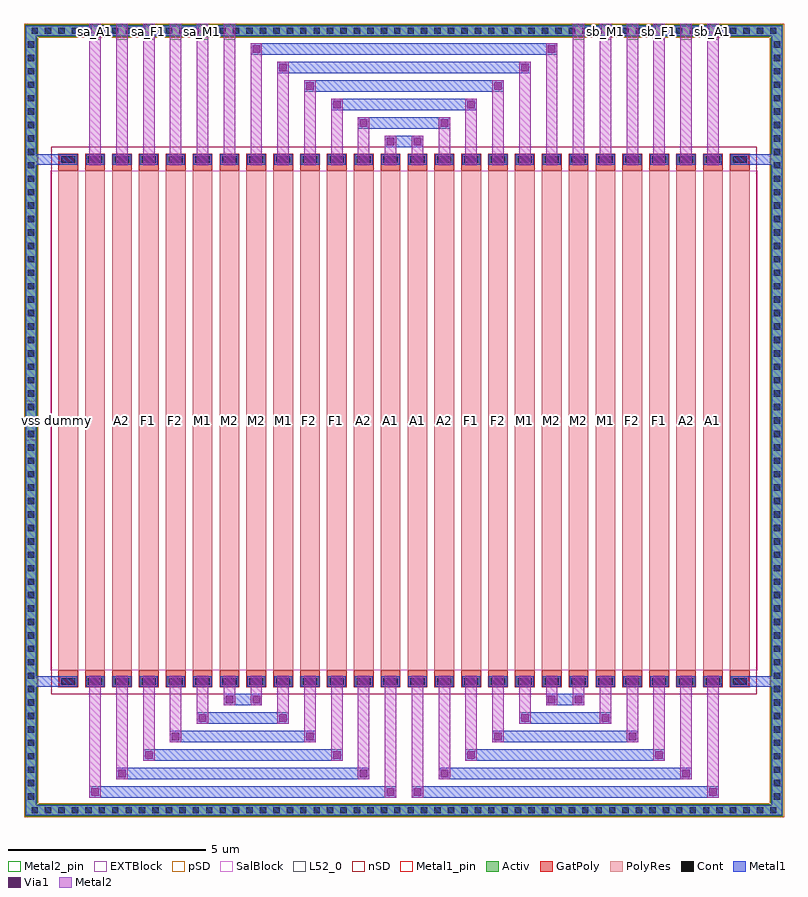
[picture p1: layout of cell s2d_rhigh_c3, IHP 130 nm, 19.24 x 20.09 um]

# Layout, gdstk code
import gdstk
lib = gdstk.Library(unit=1e-6, precision=1e-09)
def R(c, l, rs):  # rectangles x0, y0, x1, y1
    for r in rs: c.add(gdstk.rectangle(r[:2], r[2:], *l))
def A(c, l, x, y, w, h, nx, ny, dx, dy):  # array of equal rectangles
    R(c, l, [(x+i*dx, y+j*dy, x+i*dx+w, y+j*dy+h) for i in range(nx) for j in range(ny)])
Activ = (1, 0)
GatPoly = (5, 0)
Cont = (6, 0)
nSD = (7, 0)
Metal1 = (8, 0)
Metal1_pin = (8, 2)
Metal2 = (10, 0)
Metal2_pin = (10, 2)
pSD = (14, 0)
Via1 = (19, 0)
SalBlock = (28, 0)
L52_0 = (52, 0)
EXTBlock = (111, 0)
PolyRes = (128, 0)

rhigh = lib.new_cell('rhigh')
R(rhigh, GatPoly, [(0,-0.43,0.5,0), (0,12.65,0.5,13.08)])
R(rhigh, Cont, [(0.07,-0.36,0.43,-0.2), (0.07,12.85,0.43,13.01)])
R(rhigh, nSD, [(-0.18,-0.61,0.68,0.18), (-0.18,0,0.68,12.65), (-0.18,0,0.68,12.65), (-0.18,12.47,0.68,13.26)])
R(rhigh, Metal1, [(0.02,-0.41,0.48,-0.15), (0.02,12.8,0.48,13.06)])
R(rhigh, Metal1_pin, [(0.02,-0.41,0.48,-0.15), (0.02,12.8,0.48,13.06)])
R(rhigh, pSD, [(-0.18,-0.61,0.68,0.18), (-0.18,0,0.68,12.65), (-0.18,0,0.68,12.65), (-0.18,12.47,0.68,13.26)])
R(rhigh, SalBlock, [(-0.2,0,0.7,12.65)])
R(rhigh, L52_0, [(0,0,0.5,12.65)])
R(rhigh, EXTBlock, [(-0.18,-0.61,0.68,0.18), (-0.2,0,0.7,12.65), (-0.18,12.47,0.68,13.26)])
R(rhigh, PolyRes, [(0,0,0.5,12.65)])
rhigh.add(gdstk.Label('rhigh r=37720.000', (0.25,6.325), layer=63, texttype=0))
rhigh.add(gdstk.Label('rhigh', (0.25,6.325), layer=52, texttype=0))

s2d_rhigh_c3 = lib.new_cell('s2d_rhigh_c3')
R(s2d_rhigh_c3, Activ, [(-0.84,-3.69,18.34,-3.39), (-0.84,-3.69,-0.54,16.34), (18.04,-3.69,18.34,16.34), (-0.84,16.04,18.34,16.34)])
A(s2d_rhigh_c3, Cont, -0.68, -3.62, 0.16, 0.16, 56, 2, 0.34, 19.73)
A(s2d_rhigh_c3, Cont, -0.77, -3.275, 0.16, 0.16, 1, 57, 0, 0.34)
A(s2d_rhigh_c3, Cont, 18.11, -3.275, 0.16, 0.16, 1, 57, 0, 0.34)
R(s2d_rhigh_c3, Metal1, [(-0.82,-3.67,18.32,-3.41), (-0.82,-3.67,-0.56,16.32), (18.06,-3.67,18.32,16.32), (0.785,-3.23,8.555,-2.94), (8.945,-3.23,16.715,-2.94), (1.465,-2.76,7.875,-2.47), (9.625,-2.76,16.035,-2.47), (2.145,-2.29,7.195,-2), (10.305,-2.29,15.355,-2), (2.825,-1.82,6.515,-1.53), (10.985,-1.82,14.675,-1.53), (3.505,-1.35,5.835,-1.06), (11.665,-1.35,13.995,-1.06), (4.185,-0.88,5.155,-0.59), (12.345,-0.88,13.315,-0.59), (-0.56,-0.41,0.48,-0.15), (17.02,-0.41,18.06,-0.15), (-0.56,12.8,0.48,13.06), (17.02,12.8,18.06,13.06), (8.265,13.24,9.235,13.53), (7.585,13.71,9.915,14), (6.905,14.18,10.595,14.47), (6.225,14.65,11.275,14.94), (5.545,15.12,11.955,15.41), (4.865,15.59,12.635,15.88), (-0.82,16.06,18.32,16.32)])
R(s2d_rhigh_c3, Metal1_pin, [(-0.82,5.825,-0.56,6.825)])
A(s2d_rhigh_c3, Metal2, 0.785, 12.785, 0.29, 3.585, 6, 1, 0.68, 0)
A(s2d_rhigh_c3, Metal2, 13.025, 12.785, 0.29, 3.585, 6, 1, 0.68, 0)
R(s2d_rhigh_c3, Metal2, [(0.785,-3.23,1.075,-0.135), (8.265,-3.23,8.555,-0.135), (8.945,-3.23,9.235,-0.135), (16.425,-3.23,16.715,-0.135), (1.465,-2.76,1.755,-0.135), (7.585,-2.76,7.875,-0.135), (9.625,-2.76,9.915,-0.135), (15.745,-2.76,16.035,-0.135), (2.145,-2.29,2.435,-0.135), (6.905,-2.29,7.195,-0.135), (10.305,-2.29,10.595,-0.135), (15.065,-2.29,15.355,-0.135), (2.825,-1.82,3.115,-0.135), (6.225,-1.82,6.515,-0.135), (10.985,-1.82,11.275,-0.135), (14.385,-1.82,14.675,-0.135), (3.505,-1.35,3.795,-0.135), (5.545,-1.35,5.835,-0.135), (11.665,-1.35,11.955,-0.135), (13.705,-1.35,13.995,-0.135), (4.185,-0.88,4.475,-0.135), (4.865,-0.88,5.155,-0.135), (12.345,-0.88,12.635,-0.135), (13.025,-0.88,13.315,-0.135), (4.865,12.785,5.155,15.88), (5.545,12.785,5.835,15.41), (6.225,12.785,6.515,14.94), (6.905,12.785,7.195,14.47), (7.585,12.785,7.875,14), (8.265,12.785,8.555,13.53), (8.945,12.785,9.235,13.53), (9.625,12.785,9.915,14), (10.305,12.785,10.595,14.47), (10.985,12.785,11.275,14.94), (11.665,12.785,11.955,15.41), (12.345,12.785,12.635,15.88)])
A(s2d_rhigh_c3, Metal2_pin, 0.785, 15.97, 0.29, 0.4, 6, 1, 0.68, 0)
A(s2d_rhigh_c3, Metal2_pin, 13.025, 15.97, 0.29, 0.4, 6, 1, 0.68, 0)
R(s2d_rhigh_c3, pSD, [(-0.87,-3.72,18.37,-3.36), (-0.87,-3.72,-0.51,16.37), (18.01,-3.72,18.37,16.37), (-0.87,16.01,18.37,16.37)])
A(s2d_rhigh_c3, Via1, 0.835, -0.375, 0.19, 0.19, 24, 2, 0.68, 13.21)
R(s2d_rhigh_c3, Via1, [(0.835,-3.18,1.025,-2.99), (8.315,-3.18,8.505,-2.99), (8.995,-3.18,9.185,-2.99), (16.475,-3.18,16.665,-2.99), (1.515,-2.71,1.705,-2.52), (7.635,-2.71,7.825,-2.52), (9.675,-2.71,9.865,-2.52), (15.795,-2.71,15.985,-2.52), (2.195,-2.24,2.385,-2.05), (6.955,-2.24,7.145,-2.05), (10.355,-2.24,10.545,-2.05), (15.115,-2.24,15.305,-2.05), (2.875,-1.77,3.065,-1.58), (6.275,-1.77,6.465,-1.58), (11.035,-1.77,11.225,-1.58), (14.435,-1.77,14.625,-1.58), (3.555,-1.3,3.745,-1.11), (5.595,-1.3,5.785,-1.11), (11.715,-1.3,11.905,-1.11), (13.755,-1.3,13.945,-1.11), (4.235,-0.83,4.425,-0.64), (4.915,-0.83,5.105,-0.64), (12.395,-0.83,12.585,-0.64), (13.075,-0.83,13.265,-0.64), (8.315,13.29,8.505,13.48), (8.995,13.29,9.185,13.48), (7.635,13.76,7.825,13.95), (9.675,13.76,9.865,13.95), (6.955,14.23,7.145,14.42), (10.355,14.23,10.545,14.42), (6.275,14.7,6.465,14.89), (11.035,14.7,11.225,14.89), (5.595,15.17,5.785,15.36), (11.715,15.17,11.905,15.36), (4.915,15.64,5.105,15.83), (12.395,15.64,12.585,15.83)])
s2d_rhigh_c3.add(gdstk.Reference(rhigh, (0,0)))
s2d_rhigh_c3.add(gdstk.Reference(rhigh, (0.68,0)))
s2d_rhigh_c3.add(gdstk.Reference(rhigh, (1.36,0)))
s2d_rhigh_c3.add(gdstk.Reference(rhigh, (2.04,0)))
s2d_rhigh_c3.add(gdstk.Reference(rhigh, (2.72,0)))
s2d_rhigh_c3.add(gdstk.Reference(rhigh, (3.4,0)))
s2d_rhigh_c3.add(gdstk.Reference(rhigh, (4.08,0)))
s2d_rhigh_c3.add(gdstk.Reference(rhigh, (4.76,0)))
s2d_rhigh_c3.add(gdstk.Reference(rhigh, (5.44,0)))
s2d_rhigh_c3.add(gdstk.Reference(rhigh, (6.12,0)))
s2d_rhigh_c3.add(gdstk.Reference(rhigh, (6.8,0)))
s2d_rhigh_c3.add(gdstk.Reference(rhigh, (7.48,0)))
s2d_rhigh_c3.add(gdstk.Reference(rhigh, (8.16,0)))
s2d_rhigh_c3.add(gdstk.Reference(rhigh, (8.84,0)))
s2d_rhigh_c3.add(gdstk.Reference(rhigh, (9.52,0)))
s2d_rhigh_c3.add(gdstk.Reference(rhigh, (10.2,0)))
s2d_rhigh_c3.add(gdstk.Reference(rhigh, (10.88,0)))
s2d_rhigh_c3.add(gdstk.Reference(rhigh, (11.56,0)))
s2d_rhigh_c3.add(gdstk.Reference(rhigh, (12.24,0)))
s2d_rhigh_c3.add(gdstk.Reference(rhigh, (12.92,0)))
s2d_rhigh_c3.add(gdstk.Reference(rhigh, (13.6,0)))
s2d_rhigh_c3.add(gdstk.Reference(rhigh, (14.28,0)))
s2d_rhigh_c3.add(gdstk.Reference(rhigh, (14.96,0)))
s2d_rhigh_c3.add(gdstk.Reference(rhigh, (15.64,0)))
s2d_rhigh_c3.add(gdstk.Reference(rhigh, (16.32,0)))
s2d_rhigh_c3.add(gdstk.Reference(rhigh, (17,0)))
s2d_rhigh_c3.add(gdstk.Label('vss', (-0.69,6.325), layer=8, texttype=25))
s2d_rhigh_c3.add(gdstk.Label('sa_A1', (0.93,16.17), layer=10, texttype=25))
s2d_rhigh_c3.add(gdstk.Label('sb_A1', (16.57,16.17), layer=10, texttype=25))
s2d_rhigh_c3.add(gdstk.Label('sa_A2', (1.61,16.17), layer=10, texttype=25))
s2d_rhigh_c3.add(gdstk.Label('sb_A2', (15.89,16.17), layer=10, texttype=25))
s2d_rhigh_c3.add(gdstk.Label('sa_F1', (2.29,16.17), layer=10, texttype=25))
s2d_rhigh_c3.add(gdstk.Label('sb_F1', (15.21,16.17), layer=10, texttype=25))
s2d_rhigh_c3.add(gdstk.Label('sa_F2', (2.97,16.17), layer=10, texttype=25))
s2d_rhigh_c3.add(gdstk.Label('sb_F2', (14.53,16.17), layer=10, texttype=25))
s2d_rhigh_c3.add(gdstk.Label('sa_M1', (3.65,16.17), layer=10, texttype=25))
s2d_rhigh_c3.add(gdstk.Label('sb_M1', (13.85,16.17), layer=10, texttype=25))
s2d_rhigh_c3.add(gdstk.Label('sa_M2', (4.33,16.17), layer=10, texttype=25))
s2d_rhigh_c3.add(gdstk.Label('sb_M2', (13.17,16.17), layer=10, texttype=25))
s2d_rhigh_c3.add(gdstk.Label('dummy', (0.25,6.325), layer=63, texttype=0))
s2d_rhigh_c3.add(gdstk.Label('A1', (0.93,6.325), layer=63, texttype=0))
s2d_rhigh_c3.add(gdstk.Label('A2', (1.61,6.325), layer=63, texttype=0))
s2d_rhigh_c3.add(gdstk.Label('F1', (2.29,6.325), layer=63, texttype=0))
s2d_rhigh_c3.add(gdstk.Label('F2', (2.97,6.325), layer=63, texttype=0))
s2d_rhigh_c3.add(gdstk.Label('M1', (3.65,6.325), layer=63, texttype=0))
s2d_rhigh_c3.add(gdstk.Label('M2', (4.33,6.325), layer=63, texttype=0))
s2d_rhigh_c3.add(gdstk.Label('M2', (5.01,6.325), layer=63, texttype=0))
s2d_rhigh_c3.add(gdstk.Label('M1', (5.69,6.325), layer=63, texttype=0))
s2d_rhigh_c3.add(gdstk.Label('F2', (6.37,6.325), layer=63, texttype=0))
s2d_rhigh_c3.add(gdstk.Label('F1', (7.05,6.325), layer=63, texttype=0))
s2d_rhigh_c3.add(gdstk.Label('A2', (7.73,6.325), layer=63, texttype=0))
s2d_rhigh_c3.add(gdstk.Label('A1', (8.41,6.325), layer=63, texttype=0))
s2d_rhigh_c3.add(gdstk.Label('A1', (9.09,6.325), layer=63, texttype=0))
s2d_rhigh_c3.add(gdstk.Label('A2', (9.77,6.325), layer=63, texttype=0))
s2d_rhigh_c3.add(gdstk.Label('F1', (10.45,6.325), layer=63, texttype=0))
s2d_rhigh_c3.add(gdstk.Label('F2', (11.13,6.325), layer=63, texttype=0))
s2d_rhigh_c3.add(gdstk.Label('M1', (11.81,6.325), layer=63, texttype=0))
s2d_rhigh_c3.add(gdstk.Label('M2', (12.49,6.325), layer=63, texttype=0))
s2d_rhigh_c3.add(gdstk.Label('M2', (13.17,6.325), layer=63, texttype=0))
s2d_rhigh_c3.add(gdstk.Label('M1', (13.85,6.325), layer=63, texttype=0))
s2d_rhigh_c3.add(gdstk.Label('F2', (14.53,6.325), layer=63, texttype=0))
s2d_rhigh_c3.add(gdstk.Label('F1', (15.21,6.325), layer=63, texttype=0))
s2d_rhigh_c3.add(gdstk.Label('A2', (15.89,6.325), layer=63, texttype=0))
s2d_rhigh_c3.add(gdstk.Label('A1', (16.57,6.325), layer=63, texttype=0))
s2d_rhigh_c3.add(gdstk.Label('dummy', (17.25,6.325), layer=63, texttype=0))

lib.write_gds('s2d_rhigh_c3.gds')
